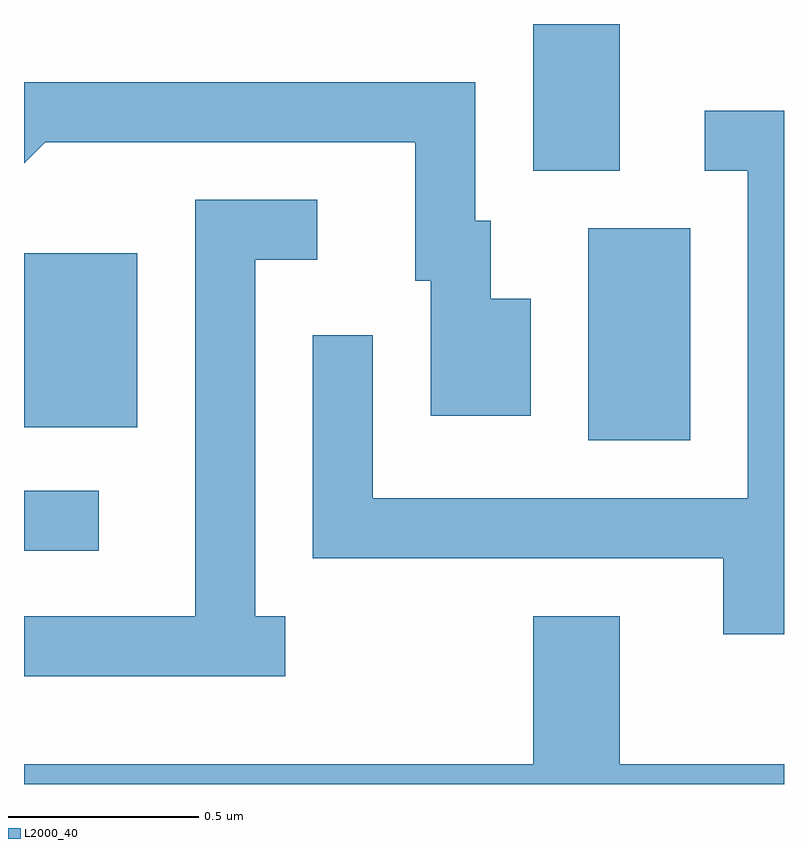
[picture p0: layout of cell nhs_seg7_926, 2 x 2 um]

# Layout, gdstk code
import gdstk
lib = gdstk.Library(unit=1e-6, precision=1e-09)
def R(c, l, rs):  # rectangles x0, y0, x1, y1
    for r in rs: c.add(gdstk.rectangle(r[:2], r[2:], *l))
def P(c, l, *ps):  # polygons
    for p in ps: c.add(gdstk.Polygon(p, *l))
L2000_40 = (2000, 40)

nhs_seg7_926 = lib.new_cell('nhs_seg7_926')
R(nhs_seg7_926, L2000_40, [(191.611,1772.866,191.808,1773.024), (193.096,1773.156,193.364,1773.714), (191.611,1773.191,191.909,1773.649), (192.951,1773.866,193.179,1774.252)])
P(nhs_seg7_926, L2000_40, [(192.944,1773.529),(192.839,1773.529),(192.839,1773.734),(192.799,1773.734),(192.799,1774.099),(191.611,1774.099),(191.611,1773.885),(191.667,1773.941),(192.641,1773.941),(192.641,1773.576),(192.681,1773.576),(192.681,1773.221),(192.944,1773.221)],
  [(193.611,1774.024),(193.403,1774.024),(193.403,1773.866),(193.516,1773.866),(193.516,1773.004),(192.529,1773.004),(192.529,1773.433),(192.371,1773.433),(192.371,1772.846),(193.451,1772.846),(193.451,1772.646),(193.611,1772.646)],
  [(192.298,1772.694),(192.219,1772.694),(192.219,1773.631),(192.383,1773.631),(192.383,1773.789),(192.061,1773.789),(192.061,1772.694),(191.611,1772.694),(191.611,1772.536),(192.298,1772.536)],
  [(193.611,1772.304),(193.179,1772.304),(193.179,1772.694),(192.951,1772.694),(192.951,1772.304),(191.611,1772.304),(191.611,1772.252),(193.611,1772.252)])

lib.write_gds('nhs_seg7_926.gds')
